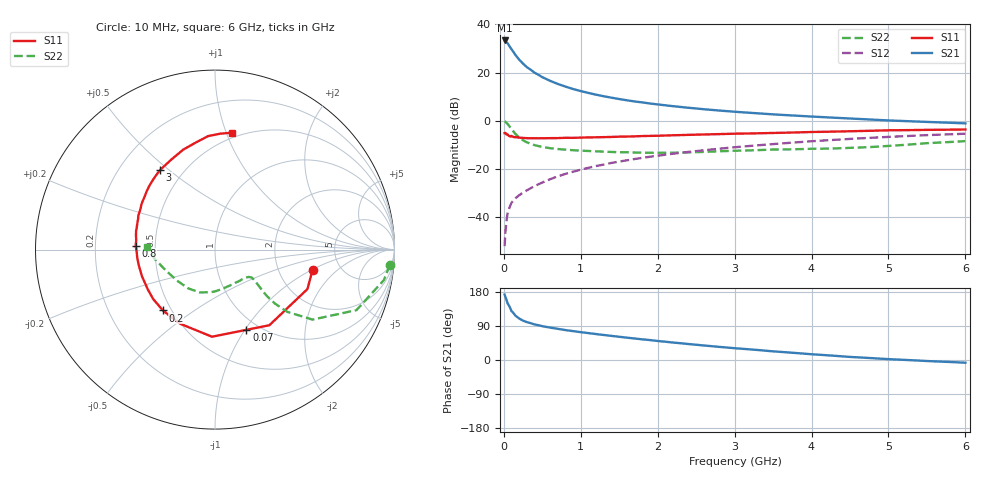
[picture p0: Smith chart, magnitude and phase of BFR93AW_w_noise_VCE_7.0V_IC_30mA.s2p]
! Infineon Technologies  Discrete & RF Semiconductors
! BFR93AW
! VCE =  7.0 V,  IC =  30 mA
! Common Emitter S-Parameters:  Jan 2017
# GHz  S  MA  R  50
!  f  S11  S21  S12  S22
! GHz  MAG  ANG  MAG  ANG  MAG  ANG  MAG  ANG
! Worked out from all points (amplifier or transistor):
!   77 points, 10 MHz to 6 GHz, reference 50 ohm
!   highest |S21| = 33.3 dB at 10 MHz (marker M1)
!   |S21| within 3 dB of that: start of sweep to 85.75 MHz
!   unconditionally stable (mu >= 1): 600.3 MHz to 2.04 GHz
!   at 130 MHz: K = 0.51, MSG = 30.6 dB, |S12| = -32.9 dB
!   at 2.2 GHz: K = 0.99, MSG = 9.9 dB, |S12| = -13.7 dB
!   at 6 GHz: K = 0.87, MSG = 2.2 dB, |S12| = -5.4 dB
!   lowest NFmin = 1.79 dB at 450 MHz
!   S11 on the Smith chart (normalised r, x): 10 MHz: 3.13, -1.02; 70 MHz: 0.87, -1.02; 200 MHz: 0.45, -0.38; 800 MHz: 0.39, +0.02; 3 GHz: 0.37, +0.47; 6 GHz: 0.46, +1.05
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0.01  0.5554 -11.7  46.33 172.7  0.0025 86.6  0.9776 -5.0
0.02  0.56 -23.1  45.8 166.5  0.0048 85.0  0.9566 -10.2
0.05  0.519 -54.3  40.33 149.0  0.0123 70.5  0.857 -23.2
0.07  0.4802 -68.6  35.87 142.3  0.0153 65.8  0.7774 -27.5
0.1  0.4858 -91.9  30.41 129.0  0.0199 61.5  0.6684 -35.7
0.13  0.4587 -105.7  25.97 122.6  0.0227 60.2  0.5865 -38.4
0.15  0.4565 -115.4  23.25 117.1  0.0245 59.5  0.5329 -40.7
0.2  0.4463 -130.6  18.46 109.4  0.0286 59.4  0.4487 -42.0
0.25  0.441 -141.5  15.26 103.8  0.0325 61.1  0.3942 -41.9
0.3  0.4351 -149.3  12.93 99.9  0.036 61.3  0.3559 -41.1
0.4  0.4332 -160.0  9.932 93.8  0.044 65.1  0.3115 -39.4
0.5  0.4333 -167.8  8.024 89.3  0.0523 67.0  0.2854 -38.2
0.6  0.4356 -173.5  6.748 85.5  0.0611 67.8  0.2699 -37.6
0.8  0.4429 177.2  5.115 79.0  0.0788 70.1  0.2514 -37.8
1.1  0.4519 166.6  3.772 71.0  0.1056 70.1  0.236 -41.1
1.5  0.4676 155.9  2.82 61.3  0.1421 68.4  0.2228 -49.3
2.1  0.4938 141.9  2.091 48.2  0.1975 64.6  0.2166 -67.2
3  0.539 124.5  1.538 31.1  0.2818 57.1  0.2386 -95.9
3.1  0.5418 122.7  1.499 29.6  0.2909 56.1  0.2404 -98.8
4.1  0.5877 106.2  1.2 13.9  0.3841 46.0  0.2627 -127.8
5.1  0.6355 92.2  1.001 1.4  0.4704 35.1  0.3075 -161.3
6  0.6583 81.7  0.883 -7.2  0.5382 25.0  0.378 177.6
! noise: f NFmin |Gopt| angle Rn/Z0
0.45  1.79  0.18  173  0.16
0.9  2.06  0.26  -175  0.16
1.9  3.1  0.5  -135  0.29
2.4  3.75  0.55  -124  0.55
